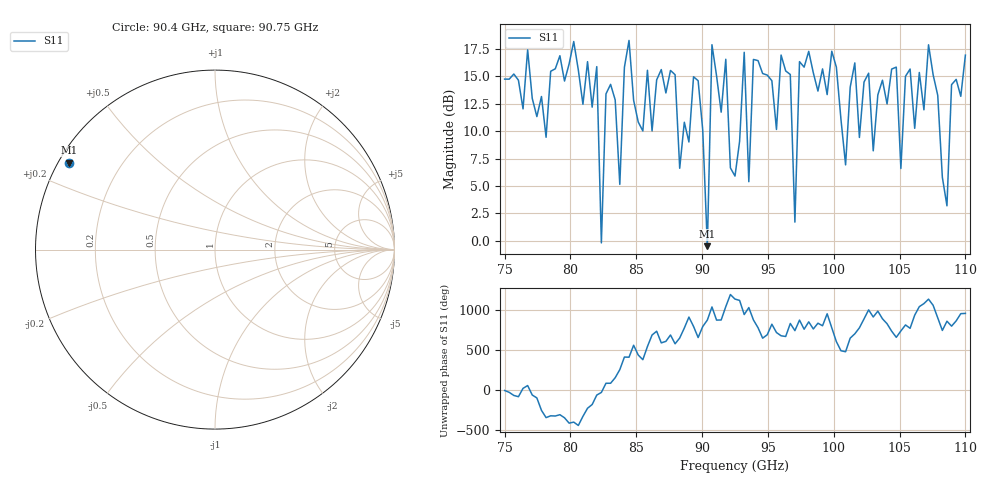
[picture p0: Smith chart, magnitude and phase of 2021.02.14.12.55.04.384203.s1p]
!Created with skrf (http://scikit-rf.org).
# GHz S RI R 50.0
!freq ReS11 ImS11
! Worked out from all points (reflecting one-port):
!   101 points, 75 GHz to 110 GHz, reference 50 ohm
!   lowest |S11| = -0.5 dB at 90.4 GHz (marker M1), VSWR 36.20, Z = 1.49 + j13.7 ohm
!   phase of S11 starts at -9 deg and turns +961 deg over the sweep
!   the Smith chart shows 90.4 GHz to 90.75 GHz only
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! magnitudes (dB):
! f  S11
! 75 GHz  14.7
! 79.55 GHz  14.6
! 82 GHz  15.9
! 82.35 GHz  -0.2
! 82.7 GHz  13.4
! 83.75 GHz  5.1
! 84.45 GHz  18.3
! 87.95 GHz  15.1
! 88.3 GHz  6.6
! 89.7 GHz  14.6
! 90.4 GHz  -0.5
! 90.75 GHz  17.9
! 92.5 GHz  5.9
! 93.2 GHz  17.2
! 93.55 GHz  5.4
! 93.9 GHz  16.5
! 96 GHz  16.9
! 96.7 GHz  15.2
! 97.05 GHz  1.7
! 97.4 GHz  16.3
! 101.2 GHz  14.0
! 104.8 GHz  15.8
! 105.1 GHz  6.6
! 105.8 GHz  15.6
! 107.2 GHz  17.9
! 108.6 GHz  3.2
! 109 GHz  14.2
! 110 GHz  16.9
